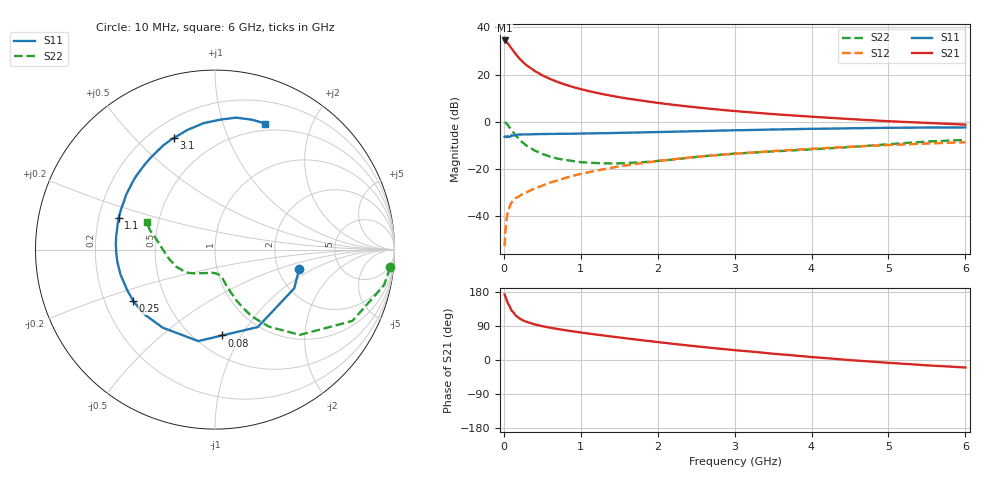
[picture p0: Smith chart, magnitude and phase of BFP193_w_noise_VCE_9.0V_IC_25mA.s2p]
! Infineon Technologies  Discrete & RF Semiconductors
! BFP193
! VCE =  9.0 V,  IC =  25 mA
! Common Emitter S-Parameters:  Jan 2017
# GHz  S  MA  R  50
!  f  S11  S21  S12  S22
! GHz  MAG  ANG  MAG  ANG  MAG  ANG  MAG  ANG
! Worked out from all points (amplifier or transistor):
!   77 points, 10 MHz to 6 GHz, reference 50 ohm
!   highest |S21| = 34.5 dB at 10 MHz (marker M1)
!   |S21| within 3 dB of that: start of sweep to 91.13 MHz
!   unconditionally stable (mu >= 1): 826.9 MHz to 2.468 GHz
!   at 130 MHz: K = 0.42, MSG = 31.4 dB, |S12| = -33.1 dB
!   at 2.2 GHz: K = 1.01, MAG = 10.8 dB, |S12| = -16.0 dB
!   at 6 GHz: K = 0.90, MSG = 3.7 dB, |S12| = -8.7 dB
!   lowest NFmin = 1.12 dB at 450 MHz
!   S11 on the Smith chart (normalised r, x): 10 MHz: 2.61, -0.75; 80 MHz: 0.67, -0.83; 250 MHz: 0.32, -0.26; 1.1 GHz: 0.28, +0.15; 3.1 GHz: 0.30, +0.65; 6 GHz: 0.42, +1.39
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0.01  0.4817 -13.2  52.79 173.0  0.0023 82.1  0.9805 -5.8
0.02  0.4913 -26.1  52.29 167.1  0.0049 83.8  0.9623 -11.9
0.05  0.493 -61.1  46.44 150.3  0.012 70.3  0.8625 -27.4
0.08  0.4801 -85.3  39.51 139.7  0.0164 61.9  0.7381 -37.0
0.1  0.5182 -100.4  35.87 130.6  0.0195 58.4  0.67 -45.2
0.15  0.5234 -123.8  27.63 118.3  0.0238 53.7  0.5215 -55.2
0.2  0.535 -138.1  22.11 110.3  0.0263 53.6  0.4237 -61.2
0.25  0.5378 -148.0  18.28 104.4  0.03 52.7  0.3559 -64.5
0.3  0.5388 -155.1  15.49 100.3  0.0322 55.3  0.3067 -67.2
0.4  0.5446 -165.3  11.92 93.9  0.0382 57.3  0.245 -70.2
0.5  0.5482 -172.6  9.616 89.2  0.0443 59.2  0.2082 -72.4
0.6  0.5506 -178.5  8.083 85.2  0.0513 60.2  0.1821 -74.2
0.7  0.5533 177.0  6.948 81.8  0.0568 61.7  0.1651 -75.5
0.9  0.5568 168.7  5.429 75.5  0.0714 62.3  0.1464 -79.9
1.1  0.5657 161.6  4.477 69.9  0.0849 62.0  0.1356 -84.9
1.5  0.5806 149.2  3.31 59.5  0.1127 59.8  0.1306 -98.2
2.1  0.6085 132.3  2.396 45.1  0.153 54.1  0.1523 -120.4
2.6  0.6352 120.6  1.938 34.0  0.1855 48.6  0.1861 -135.2
3.1  0.6624 110.3  1.634 24.2  0.2152 43.0  0.215 -147.4
4.1  0.7102 93.5  1.248 6.3  0.2719 32.2  0.2649 -170.7
5.1  0.7454 79.5  1.008 -8.7  0.3254 21.0  0.3417 168.3
6  0.7565 68.2  0.868 -19.8  0.3677 11.0  0.4109 157.9
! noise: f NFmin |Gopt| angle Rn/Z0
0.45  1.12  0.3  -176  0.36
0.9  1.19  0.37  -175  0.07
1.9  1.81  0.57  -138  0.16
2.4  2.15  0.62  -122  0.35
